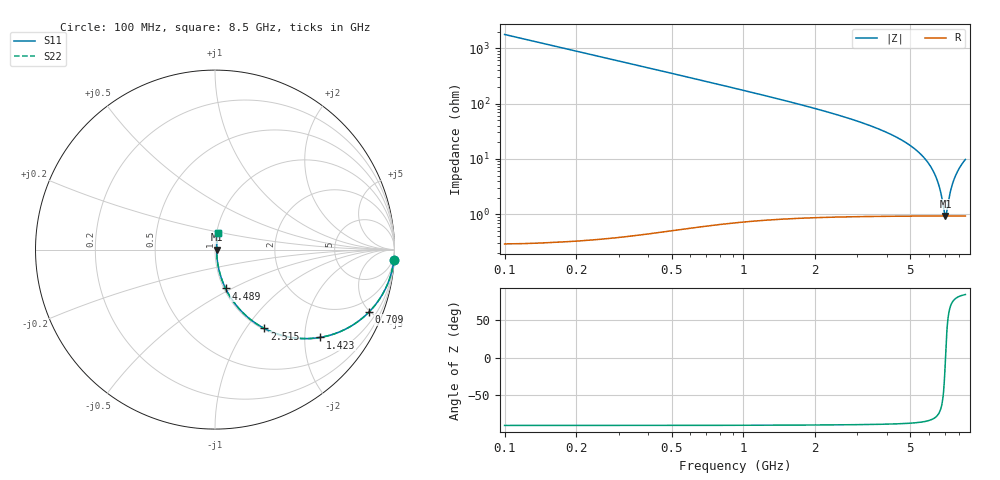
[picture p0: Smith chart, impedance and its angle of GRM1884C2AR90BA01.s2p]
!Murata Part Number: GRM1884C2AR90BA01
!These Parameters are Measured in Series Mode Connection
!Data Generated on Mar 30, 2021
!  o--ll--o
!Port1  Port2
!  o------o
!Operation Temp=25[degC], DC Bias Voltage=0[V]
!Freq. Start=100[MHz] Stop=9[GHz] 401[Steps]
# Hz S RI R 50
!Freq.(Hz) S11(Real) S11(Imag) S21(Real) S21(Imag) S12(Real) S12(Imag) S22(Real) S22(Imag)
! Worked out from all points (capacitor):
!   401 points, 100 MHz to 8.5 GHz, reference 50 ohm
!   read as one part in series: C = 900 fF near 142 MHz
!   lowest |Z| = 932 mohm at 7.009 GHz (marker M1)
!   series resonance near 7.015 GHz, so ESL is about 570 pH
!   S11 on the Smith chart (normalised r, x): 100 MHz: 1, -35; 709 MHz: 1.01, -4.93; 1.423 GHz: 1.02, -2.38; 2.515 GHz: 1.02, -1.22; 4.489 GHz: 1.02, -0.46; 8.5 GHz: 1.02, +0.19
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1e8  0.9968 -0.0564  0.0032 0.0564  0.0032 0.0564  0.9968 -0.0564
2.26e8  0.9838 -0.1259  0.0162 0.1259  0.0162 0.1259  0.9838 -0.1259
3.31e8  0.9658 -0.1812  0.0342 0.1812  0.0342 0.1812  0.9658 -0.1812
4.99e8  0.9251 -0.2625  0.0749 0.2625  0.0749 0.2625  0.9251 -0.2625
7.09e8  0.8581 -0.3477  0.1419 0.3477  0.1419 0.3477  0.8581 -0.3477
1.423e9  0.5852 -0.4893  0.4148 0.4893  0.4148 0.4893  0.5852 -0.4893
1.507e9  0.5547 -0.4933  0.4453 0.4933  0.4453 0.4933  0.5547 -0.4933
2.515e9  0.275 -0.4393  0.725 0.4393  0.725 0.4393  0.275 -0.4393
2.914e9  0.2049 -0.3947  0.7951 0.3947  0.7951 0.3947  0.2049 -0.3947
4.3e9  0.0691 -0.2362  0.9309 0.2362  0.9309 0.2362  0.0691 -0.2362
4.489e9  0.0589 -0.2164  0.9411 0.2164  0.9411 0.2164  0.0589 -0.2164
5.707e9  0.0197 -0.1015  0.9803 0.1015  0.9803 0.1015  0.0197 -0.1015
6.148e9  0.0135 -0.065  0.9865 0.065  0.9865 0.065  0.0135 -0.065
6.484e9  0.0107 -0.0388  0.9893 0.0388  0.9893 0.0388  0.0107 -0.0388
6.694e9  0.00976 -0.0231  0.9902 0.0231  0.9902 0.0231  0.00976 -0.0231
6.946e9  0.00925 -0.00487  0.9908 0.00487  0.9908 0.00487  0.00925 -0.00487
7.009e9  0.00923 -0.000415  0.9908 0.000415  0.9908 0.000415  0.00923 -0.000415
7.114e9  0.00928 0.00692  0.9907 -0.00692  0.9907 -0.00692  0.00928 0.00692
7.345e9  0.00975 0.0227  0.9902 -0.0227  0.9902 -0.0227  0.00975 0.0227
7.618e9  0.0109 0.0407  0.9891 -0.0407  0.9891 -0.0407  0.0109 0.0407
7.996e9  0.0135 0.0645  0.9865 -0.0645  0.9865 -0.0645  0.0135 0.0645
8.5e9  0.0183 0.0945  0.9817 -0.0945  0.9817 -0.0945  0.0183 0.0945
